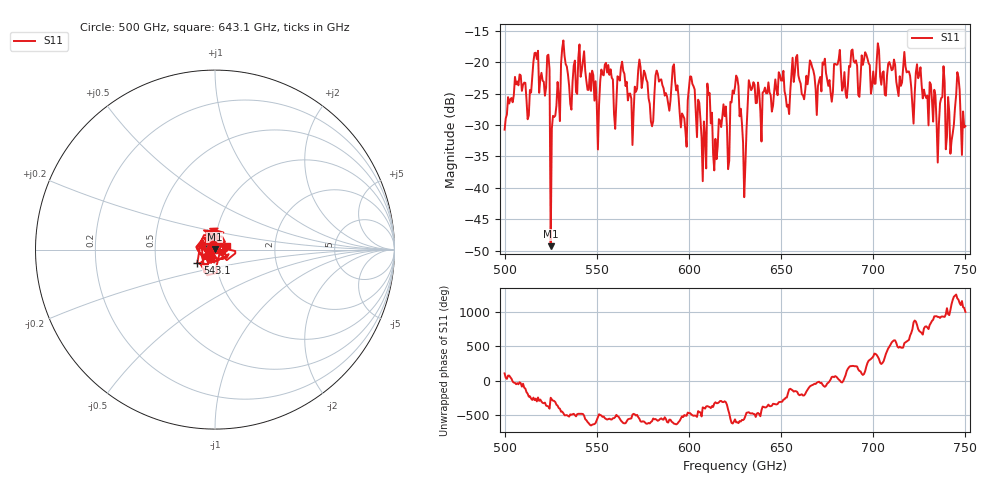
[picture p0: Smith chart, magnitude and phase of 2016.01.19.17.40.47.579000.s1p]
!Created with skrf (http://scikit-rf.org).
# GHz S RI R 50.0
!freq ReS11 ImS11
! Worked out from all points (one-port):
!   401 points, 500 GHz to 750 GHz, reference 50 ohm
!   lowest |S11| = -49.3 dB at 525 GHz (marker M1), VSWR 1.01, Z = 49.8 + j0.308 ohm
!   |S11| at or under -10 dB: start of sweep to end of sweep
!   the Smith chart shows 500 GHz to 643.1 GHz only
!   S11 on the Smith chart (normalised r, x): 500 GHz: 0.98, +0.05; 543.1 GHz: 0.81, -0.12; 643.1 GHz: 1.14, +0.05
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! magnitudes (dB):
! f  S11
! 500 GHz  -30.7
! 506.9 GHz  -23.0
! 513.1 GHz  -28.5
! 516.9 GHz  -18.5
! 523.1 GHz  -19.0
! 525 GHz  -49.3
! 526.2 GHz  -28.5
! 531.2 GHz  -17.8
! 543.1 GHz  -18.2
! 550 GHz  -26.6
! 562.5 GHz  -22.9
! 568.8 GHz  -25.8
! 573.8 GHz  -20.8
! 579.4 GHz  -29.4
! 593.8 GHz  -23.7
! 597.5 GHz  -28.9
! 601.9 GHz  -23.4
! 608.1 GHz  -29.4
! 611.2 GHz  -24.9
! 614.4 GHz  -32.2
! 625 GHz  -23.9
! 630 GHz  -41.5
! 633.8 GHz  -24.4
! 643.1 GHz  -23.2
! 656.2 GHz  -19.3
! 687.5 GHz  -20.7
! 718.8 GHz  -21.5
! 750 GHz  -30.2
